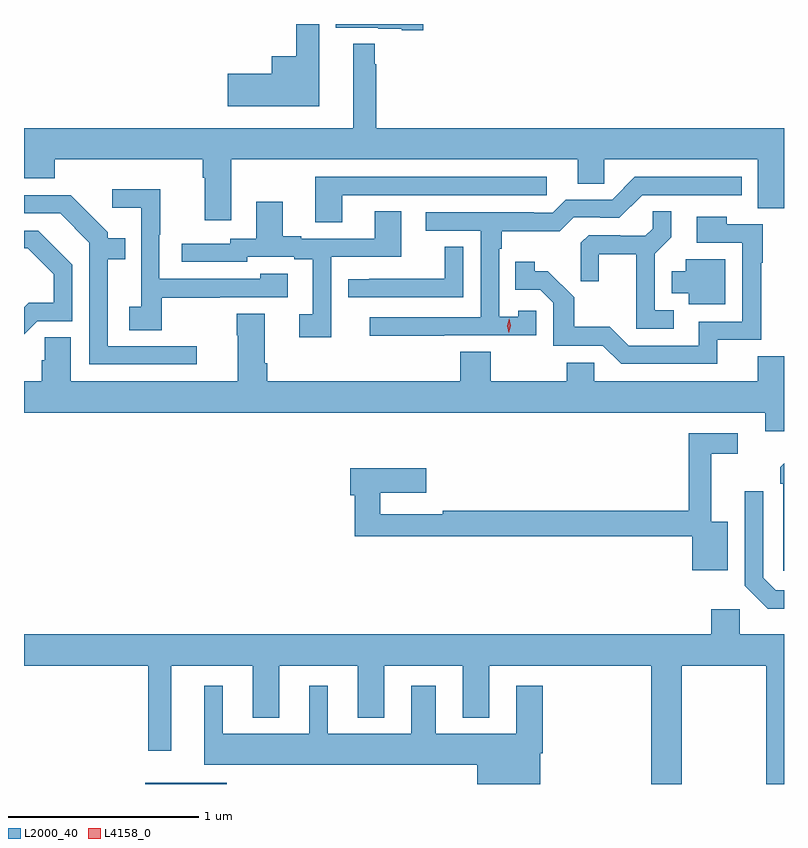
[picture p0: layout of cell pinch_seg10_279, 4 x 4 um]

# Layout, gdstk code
import gdstk
lib = gdstk.Library(unit=1e-6, precision=1e-09)
def R(c, l, rs):  # rectangles x0, y0, x1, y1
    for r in rs: c.add(gdstk.rectangle(r[:2], r[2:], *l))
def P(c, l, *ps):  # polygons
    for p in ps: c.add(gdstk.Polygon(p, *l))
L2000_40 = (2000, 40)
L4158_0 = (4158, 0)

pinch_seg10_279 = lib.new_cell('pinch_seg10_279')
R(pinch_seg10_279, L2000_40, [(491.258,1286.373,491.689,1286.38)])
P(pinch_seg10_279, L2000_40, [(492.721,1290.373),(492.263,1290.373),(492.263,1290.353),(492.486,1290.353),(492.486,1290.347),(492.608,1290.347),(492.608,1290.341),(492.721,1290.341)],
  [(492.175,1290.373),(492.054,1290.373),(492.054,1290.202),(491.924,1290.202),(491.924,1290.11),(491.694,1290.11),(491.694,1289.939),(492.175,1289.939)],
  [(491.713,1289.66),(493.535,1289.66),(493.535,1289.533),(493.674,1289.533),(493.674,1289.66),(494.483,1289.66),(494.483,1289.404),(494.621,1289.404),(494.621,1289.824),(492.475,1289.824),(492.475,1290.161),(492.467,1290.161),(492.467,1290.268),(492.353,1290.268),(492.353,1289.824),(490.621,1289.824),(490.621,1289.561),(490.784,1289.561),(490.784,1289.66),(491.561,1289.66),(491.561,1289.564),(491.573,1289.564),(491.573,1289.34),(491.713,1289.34)],
  [(492.833,1288.734),(493.317,1288.734),(493.317,1288.863),(493.221,1288.863),(493.221,1288.831),(493.122,1288.831),(493.122,1289.189),(493.135,1289.189),(493.135,1289.282),(493.442,1289.282),(493.515,1289.355),(493.654,1289.355),(493.654,1289.352),(493.755,1289.352),(493.875,1289.472),(494.398,1289.472),(494.398,1289.568),(493.836,1289.568),(493.716,1289.448),(493.473,1289.448),(493.404,1289.379),(493.304,1289.379),(493.304,1289.382),(492.735,1289.382),(492.735,1289.286),(493.026,1289.286),(493.026,1288.83),(492.441,1288.83),(492.441,1288.732),(492.833,1288.732)],
  [(492.295,1289.472),(493.372,1289.472),(493.372,1289.568),(492.155,1289.568),(492.155,1289.329),(492.295,1289.329)],
  [(491.347,1288.933),(491.651,1288.933),(491.651,1288.935),(492.01,1288.935),(492.01,1289.059),(491.865,1289.059),(491.865,1289.031),(491.334,1289.031),(491.334,1289.264),(491.337,1289.264),(491.337,1289.503),(491.085,1289.503),(491.085,1289.405),(491.238,1289.405),(491.238,1288.884),(491.175,1288.884),(491.175,1288.762),(491.347,1288.762)],
  [(491.53,1288.677),(491.062,1288.677),(491.062,1289.136),(491.153,1289.136),(491.153,1289.245),(491.061,1289.245),(491.061,1289.277),(490.866,1289.472),(490.621,1289.472),(490.621,1289.376),(490.812,1289.376),(490.965,1289.223),(490.965,1288.581),(491.53,1288.581)],
  [(492.237,1289.148),(492.607,1289.148),(492.607,1289.387),(492.467,1289.387),(492.467,1289.244),(492.079,1289.244),(492.079,1289.257),(491.983,1289.257),(491.983,1289.437),(491.843,1289.437),(491.843,1289.244),(491.706,1289.244),(491.706,1289.217),(491.451,1289.217),(491.451,1289.121),(491.796,1289.121),(491.796,1289.148),(492.044,1289.148),(492.044,1289.136),(492.14,1289.136),(492.14,1288.845),(492.069,1288.845),(492.069,1288.725),(492.237,1288.725)],
  [(494.041,1288.866),(493.941,1288.866),(493.941,1289.165),(494.027,1289.251),(494.027,1289.387),(493.929,1289.387),(493.929,1289.296),(493.892,1289.259),(493.758,1289.259),(493.758,1289.262),(493.593,1289.262),(493.552,1289.221),(493.552,1289.019),(493.646,1289.019),(493.646,1289.162),(493.844,1289.162),(493.844,1288.77),(494.041,1288.77)],
  [(494.27,1288.71),(494.501,1288.71),(494.501,1289.116),(494.509,1289.116),(494.509,1289.319),(494.319,1289.319),(494.319,1289.359),(494.163,1289.359),(494.163,1289.223),(494.4,1289.223),(494.4,1288.806),(494.171,1288.806),(494.171,1288.68),(493.803,1288.68),(493.705,1288.779),(493.516,1288.779),(493.516,1288.934),(493.378,1289.072),(493.308,1289.072),(493.308,1289.122),(493.207,1289.122),(493.207,1288.974),(493.338,1288.974),(493.407,1288.905),(493.407,1288.68),(493.668,1288.68),(493.764,1288.584),(494.27,1288.584)],
  [(490.692,1288.809),(490.875,1288.809),(490.875,1289.107),(490.696,1289.286),(490.621,1289.286),(490.621,1289.193),(490.641,1289.193),(490.778,1289.056),(490.778,1288.906),(490.645,1288.906),(490.621,1288.882),(490.621,1288.739)],
  [(492.933,1289.201),(492.835,1289.201),(492.835,1289.031),(492.439,1289.031),(492.439,1289.03),(492.327,1289.03),(492.327,1288.935),(492.933,1288.935)],
  [(494.311,1289.134),(494.105,1289.134),(494.105,1289.071),(494.03,1289.071),(494.03,1288.955),(494.12,1288.955),(494.12,1288.898),(494.311,1288.898)],
  [(494.621,1288.625),(494.483,1288.625),(494.483,1288.492),(493.623,1288.492),(493.623,1288.59),(493.477,1288.59),(493.477,1288.492),(493.077,1288.492),(493.077,1288.649),(492.917,1288.649),(492.917,1288.492),(491.9,1288.492),(491.9,1288.588),(491.887,1288.588),(491.887,1288.849),(491.74,1288.849),(491.74,1288.736),(491.747,1288.736),(491.747,1288.492),(490.867,1288.492),(490.867,1288.724),(490.729,1288.724),(490.729,1288.602),(490.715,1288.602),(490.715,1288.492),(490.621,1288.492),(490.621,1288.328),(494.522,1288.328),(494.522,1288.23),(494.621,1288.23)],
  [(494.326,1287.754),(494.237,1287.754),(494.237,1288.11),(494.377,1288.11),(494.377,1288.218),(494.119,1288.218),(494.119,1287.812),(492.826,1287.812),(492.826,1287.792),(492.497,1287.792),(492.497,1287.905),(492.739,1287.905),(492.739,1288.035),(492.338,1288.035),(492.338,1287.893),(492.361,1287.893),(492.361,1287.676),(494.139,1287.676),(494.139,1287.497),(494.326,1287.497)],
  [(494.621,1288.061),(494.601,1288.041),(494.601,1287.953),(494.616,1287.953),(494.616,1287.495),(494.621,1287.495)],
  [(494.621,1287.393),(494.577,1287.393),(494.511,1287.459),(494.511,1287.913),(494.415,1287.913),(494.415,1287.417),(494.536,1287.296),(494.621,1287.296)],
  [(490.621,1286.996),(491.274,1286.996),(491.274,1286.547),(491.395,1286.547),(491.395,1286.996),(491.825,1286.996),(491.825,1286.723),(491.965,1286.723),(491.965,1286.996),(492.377,1286.996),(492.377,1286.723),(492.517,1286.723),(492.517,1286.996),(492.929,1286.996),(492.929,1286.723),(493.069,1286.723),(493.069,1286.996),(493.922,1286.996),(493.922,1286.373),(494.082,1286.373),(494.082,1286.996),(494.527,1286.996),(494.527,1286.373),(494.621,1286.373),(494.621,1287.16),(494.388,1287.16),(494.388,1287.292),(494.237,1287.292),(494.237,1287.16),(490.621,1287.16)],
  [(493.339,1286.534),(493.352,1286.534),(493.352,1286.89),(493.211,1286.89),(493.211,1286.638),(492.787,1286.638),(492.787,1286.89),(492.659,1286.89),(492.659,1286.638),(492.22,1286.638),(492.22,1286.89),(492.122,1286.89),(492.122,1286.638),(491.668,1286.638),(491.668,1286.89),(491.57,1286.89),(491.57,1286.474),(493.007,1286.474),(493.007,1286.373),(493.339,1286.373)])
P(pinch_seg10_279, L4158_0, [(493.173,1288.749),(493.173,1288.749),(493.164,1288.786),(493.175,1288.821),(493.175,1288.821),(493.176,1288.821),(493.184,1288.785),(493.173,1288.749)])

lib.write_gds('pinch_seg10_279.gds')
